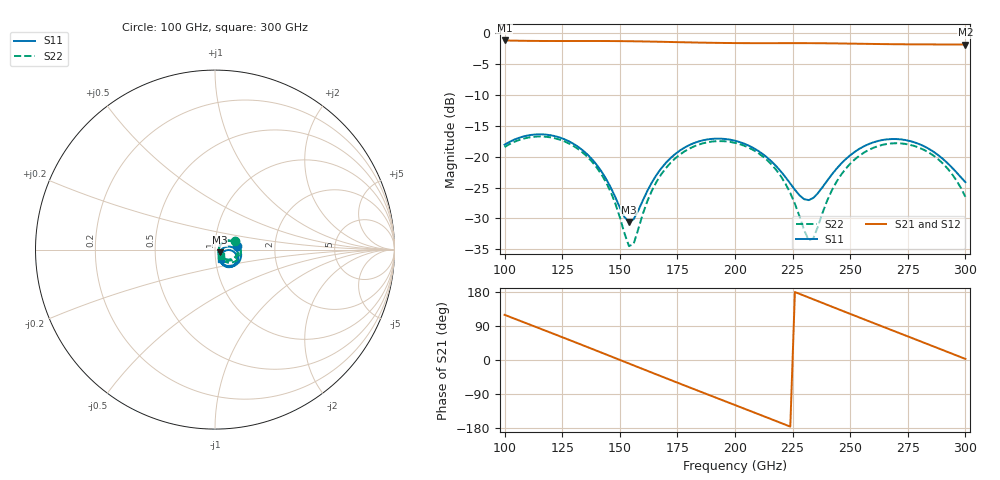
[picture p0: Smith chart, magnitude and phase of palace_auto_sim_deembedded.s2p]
! Created with skrf 1.11.0 (http://scikit-rf.org).
# GHz S DB R 50.0
!freq dBS11 angS11 dBS21 angS21 dBS12 angS12 dBS22 angS22
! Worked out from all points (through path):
!   101 points, 100 GHz to 300 GHz, reference 50 ohm
!   highest |S21| = -1.20 dB at 100 GHz (marker M1); lowest = -1.9 dB at 300 GHz (marker M2)
!   group delay of S21, straight-line fit = 6.62 ps
!   lowest |S11| = -30.6 dB at 154 GHz (marker M3), VSWR 1.06, Z = 52.6 - j1.52 ohm
!   |S11| at or under -10 dB: start of sweep to end of sweep
!   |S22| runs from -34.5 to -16.7 dB; largest |S21 - S12| = 9.9e-14
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100  -18.07 9.4  -1.20 119.2  -1.20 119.2  -18.44 22.4
116  -16.39 -22.2  -1.29 81.5  -1.29 81.5  -16.74 -8.4
124  -16.92 -38.2  -1.29 62.6  -1.29 62.6  -17.27 -24.2
134  -19.01 -56.4  -1.29 38.8  -1.29 38.8  -19.38 -43.0
144  -23.57 -67.3  -1.30 14.8  -1.30 14.8  -24.13 -57.0
154  -30.59 -29.2  -1.33 -9.4  -1.33 -9.4  -34.49 -18.6
156  -30.13 -11.6  -1.34 -14.2  -1.34 -14.2  -34.12 11.0
162  -25.51 12.8  -1.38 -28.7  -1.38 -28.7  -27.16 42.4
168  -21.89 12.2  -1.42 -43.1  -1.42 -43.1  -22.85 39.8
184  -17.57 -11.7  -1.54 -81.2  -1.54 -81.2  -18.09 13.4
200  -17.43 -39.4  -1.63 -118.9  -1.63 -118.9  -17.77 -16.5
218  -21.59 -61.4  -1.64 -161.5  -1.64 -161.5  -22.21 -46.7
224  -24.36 -58.8  -1.64 -175.9  -1.64 -175.9  -25.89 -50.9
232  -27.04 -29.8  -1.64 164.9  -1.64 164.9  -33.54 -13.3
234  -26.68 -20.2  -1.65 160.1  -1.65 160.1  -33.24 11.7
242  -22.91 -2.0  -1.67 140.9  -1.67 140.9  -25.49 42.8
248  -20.43 -3.9  -1.70 126.5  -1.70 126.5  -21.98 37.6
258  -17.98 -16.4  -1.76 102.6  -1.76 102.6  -18.92 20.9
268  -17.16 -32.4  -1.81 78.9  -1.81 78.9  -17.86 1.8
276  -17.48 -45.2  -1.83 59.9  -1.83 59.9  -18.09 -13.6
286  -19.17 -58.5  -1.85 36.2  -1.85 36.2  -19.79 -31.8
300  -24.13 -56.7  -1.87 2.8  -1.87 2.8  -26.50 -45.7
